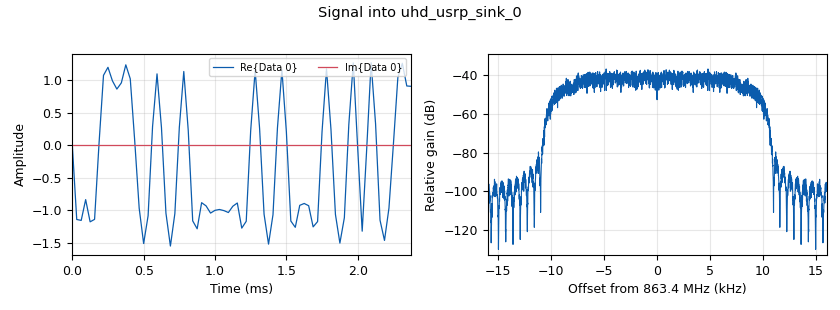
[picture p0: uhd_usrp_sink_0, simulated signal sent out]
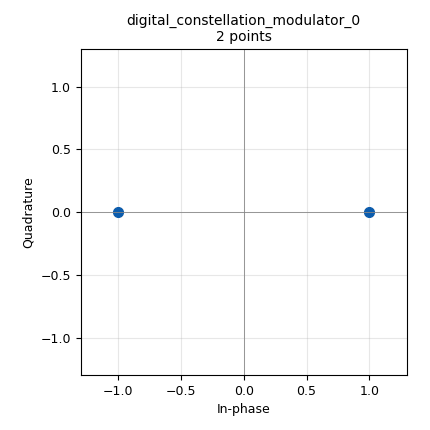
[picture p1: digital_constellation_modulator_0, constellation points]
options:
  parameters:
    author: aude
    generate_options: qt_gui
    id: emissionCouchePhy
    output_language: python
    title: emission-couche-phy
  states: {}

blocks:
- name: freq_centr
  id: variable
  parameters:
    value: '863400000'
  states: {}
- name: modulation_couche_phy
  id: variable_constellation
  parameters:
    precision: '8'
    type: bpsk
  states: {}
- name: rrc_taps
  id: variable
  parameters:
    value: firdes.root_raised_
  states: {}
- name: samp_rate
  id: variable
  parameters:
    value: '32000'
  states: {}
- name: analog_random_source_x_0
  id: analog_random_source_x
  parameters:
    max: '256'
    min: '0'
    num_samps: '10000'
    repeat: 'True'
    type: byte
  states: {}
- name: blocks_throttle_0
  id: blocks_throttle
  parameters:
    samples_per_second: samp_rate
    type: complex
  states: {}
- name: digital_constellation_modulator_0
  id: digital_constellation_modulator
  parameters:
    constellation: modulation_couche_phy
    differential: 'True'
    excess_bw: '0.35'
    samples_per_symbol: '2'
  states: {}
- name: fir_filter_xxx_0
  id: fir_filter_xxx
  parameters:
    decim: '1'
    taps: rrc_taps
    type: ccc
  states: {}
- name: qtgui_const_sink_x_0
  id: qtgui_const_sink_x
  parameters:
    size: '1024'
    type: complex
  states: {}
- name: qtgui_freq_sink_x_0
  id: qtgui_freq_sink_x
  parameters:
    bw: samp_rate
    fc: '0'
    fftsize: '1024'
    type: complex
    wintype: firdes.WIN_BLACKMAN_hARRIS
  states: {}
- name: qtgui_time_sink_x_1
  id: qtgui_time_sink_x
  parameters:
    size: '1024'
    srate: samp_rate
    type: complex
  states: {}
- name: uhd_usrp_sink_0
  id: uhd_usrp_sink
  parameters:
    ant0: TX/RX
    center_freq0: freq_centr
    clock_source0: external
    dev_args: '""'
    gain0: '0'
    len_tag_name: ''
    norm_gain0: 'False'
    samp_rate: samp_rate
    sync: sync
    type: fc32
  states: {}

connections:
- [analog_random_source_x_0, '0', digital_constellation_modulator_0, '0']
- [blocks_throttle_0, '0', uhd_usrp_sink_0, '0']
- [digital_constellation_modulator_0, '0', blocks_throttle_0, '0']

metadata:
  file_format: 1
